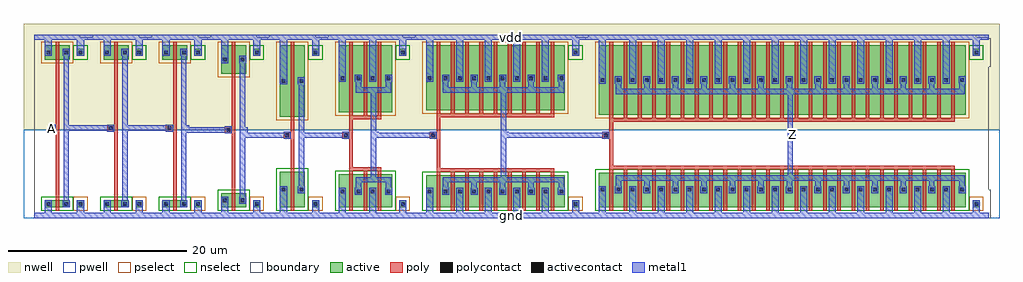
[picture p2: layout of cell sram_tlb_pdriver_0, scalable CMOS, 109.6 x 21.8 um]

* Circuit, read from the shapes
.subckt sram_tlb_pdriver_0 A Z gnd vdd
M1 sram_tlb_pinv_6_1/A A gnd gnd nfet w=0.8u l=0.4u
M2 sram_tlb_pinv_6_2/A sram_tlb_pinv_6_1/A gnd gnd nfet w=0.8u l=0.4u
M3 sram_tlb_pinv_7_3/A sram_tlb_pinv_6_2/A gnd gnd nfet w=0.8u l=0.4u
M4 sram_tlb_pinv_8_4/A sram_tlb_pinv_7_3/A gnd gnd nfet w=1.6u l=0.4u
M5 sram_tlb_pinv_9_5/A sram_tlb_pinv_8_4/A gnd gnd nfet w=4u l=0.4u
M6 sram_tlb_pinv_10_6/A sram_tlb_pinv_9_5/A gnd gnd nfet w=3.7u l=0.4u m=3
M7 sram_tlb_pinv_11_7/A sram_tlb_pinv_10_6/A gnd gnd nfet w=3.6u l=0.4u m=9
M8 Z sram_tlb_pinv_11_7/A gnd gnd nfet w=3.9u l=0.4u m=25
M9 sram_tlb_pinv_6_1/A A vdd vdd pfet w=1.6u l=0.4u
M10 sram_tlb_pinv_6_2/A sram_tlb_pinv_6_1/A vdd vdd pfet w=1.6u l=0.4u
M11 sram_tlb_pinv_7_3/A sram_tlb_pinv_6_2/A vdd vdd pfet w=1.6u l=0.4u
M12 sram_tlb_pinv_8_4/A sram_tlb_pinv_7_3/A vdd vdd pfet w=3.2u l=0.4u
M13 sram_tlb_pinv_9_5/A sram_tlb_pinv_8_4/A vdd vdd pfet w=8u l=0.4u
M14 sram_tlb_pinv_10_6/A sram_tlb_pinv_9_5/A vdd vdd pfet w=7.5u l=0.4u m=3
M15 sram_tlb_pinv_11_7/A sram_tlb_pinv_10_6/A vdd vdd pfet w=7.3u l=0.4u m=9
M16 Z sram_tlb_pinv_11_7/A vdd vdd pfet w=7.8u l=0.4u m=25
.ends

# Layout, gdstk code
import gdstk
lib = gdstk.Library(unit=1e-6, precision=1e-09)
def R(c, l, rs):  # rectangles x0, y0, x1, y1
    for r in rs: c.add(gdstk.rectangle(r[:2], r[2:], *l))
def A(c, l, x, y, w, h, nx, ny, dx, dy):  # array of equal rectangles
    R(c, l, [(x+i*dx, y+j*dy, x+i*dx+w, y+j*dy+h) for i in range(nx) for j in range(ny)])
pwell = (41, 0)
nwell = (42, 0)
active = (43, 0)
pselect = (44, 0)
nselect = (45, 0)
poly = (46, 0)
polycontact = (47, 0)
activecontact = (48, 0)
metal1 = (49, 0)
boundary = (63, 0)

sram_tlb_contact_11 = lib.new_cell('sram_tlb_contact_11')
R(sram_tlb_contact_11, nwell, [(-1.2,-1.2,2,2)])
R(sram_tlb_contact_11, active, [(0,0,0.8,0.8)])
R(sram_tlb_contact_11, pselect, [(-0.4,-0.4,1.2,1.2)])
R(sram_tlb_contact_11, activecontact, [(0.2,0.2,0.6,0.6)])
R(sram_tlb_contact_11, metal1, [(0,0,0.8,0.8)])
R(sram_tlb_contact_11, boundary, [(-1.2,-1.2,2,2)])

sram_tlb_pmos_m1_w1_600_ = lib.new_cell('sram_tlb_pmos_m1_w1_600_sm1_dm1_da_p')
R(sram_tlb_pmos_m1_w1_600_, nwell, [(-1.2,-1.2,4,2.8)])
R(sram_tlb_pmos_m1_w1_600_, active, [(0,0,2.8,1.6)])
R(sram_tlb_pmos_m1_w1_600_, pselect, [(-0.4,-0.4,3.2,2)])
R(sram_tlb_pmos_m1_w1_600_, poly, [(1.2,-0.4,1.6,2), (1.2,-0.4,1.6,2)])
R(sram_tlb_pmos_m1_w1_600_, metal1, [(0,0.4,0.8,1.2), (2,0.4,2.8,1.2)])
R(sram_tlb_pmos_m1_w1_600_, boundary, [(-1.2,-1.2,4,2.8)])
sram_tlb_pmos_m1_w1_600_.add(gdstk.Reference(sram_tlb_contact_11, (0,0.4)))
sram_tlb_pmos_m1_w1_600_.add(gdstk.Reference(sram_tlb_contact_11, (2,0.4)))
sram_tlb_pmos_m1_w1_600_.add(gdstk.Label('G', (1.4,0.8), layer=46, texttype=0))
sram_tlb_pmos_m1_w1_600_.add(gdstk.Label('S', (0.4,0.8), layer=49, texttype=0))
sram_tlb_pmos_m1_w1_600_.add(gdstk.Label('D', (2.4,0.8), layer=49, texttype=0))

sram_tlb_contact_10 = lib.new_cell('sram_tlb_contact_10')
R(sram_tlb_contact_10, pwell, [(-1.2,-1.2,2,2)])
R(sram_tlb_contact_10, active, [(0,0,0.8,0.8)])
R(sram_tlb_contact_10, nselect, [(-0.4,-0.4,1.2,1.2)])
R(sram_tlb_contact_10, activecontact, [(0.2,0.2,0.6,0.6)])
R(sram_tlb_contact_10, metal1, [(0,0,0.8,0.8)])
R(sram_tlb_contact_10, boundary, [(-1.2,-1.2,2,2)])

sram_tlb_nmos_m1_w0_800_ = lib.new_cell('sram_tlb_nmos_m1_w0_800_sm1_dm1_da_p')
R(sram_tlb_nmos_m1_w0_800_, pwell, [(-1.2,-1.2,4,2)])
R(sram_tlb_nmos_m1_w0_800_, active, [(0,0,2.8,0.8)])
R(sram_tlb_nmos_m1_w0_800_, nselect, [(-0.4,-0.4,3.2,1.2)])
R(sram_tlb_nmos_m1_w0_800_, poly, [(1.2,-0.4,1.6,1.2), (1.2,-0.4,1.6,1.2)])
R(sram_tlb_nmos_m1_w0_800_, metal1, [(0,0,0.8,0.8), (2,0,2.8,0.8)])
R(sram_tlb_nmos_m1_w0_800_, boundary, [(-1.2,-1.2,4,2)])
sram_tlb_nmos_m1_w0_800_.add(gdstk.Reference(sram_tlb_contact_10, (0,0)))
sram_tlb_nmos_m1_w0_800_.add(gdstk.Reference(sram_tlb_contact_10, (2,0)))
sram_tlb_nmos_m1_w0_800_.add(gdstk.Label('G', (1.4,0.4), layer=46, texttype=0))
sram_tlb_nmos_m1_w0_800_.add(gdstk.Label('S', (0.4,0.4), layer=49, texttype=0))
sram_tlb_nmos_m1_w0_800_.add(gdstk.Label('D', (2.4,0.4), layer=49, texttype=0))

sram_tlb_contact_12 = lib.new_cell('sram_tlb_contact_12')
R(sram_tlb_contact_12, nwell, [(-1.2,-1.2,2,2)])
R(sram_tlb_contact_12, active, [(0,0,0.8,0.8)])
R(sram_tlb_contact_12, nselect, [(-0.4,-0.4,1.2,1.2)])
R(sram_tlb_contact_12, activecontact, [(0.2,0.2,0.6,0.6)])
R(sram_tlb_contact_12, metal1, [(0,0,0.8,0.8)])
R(sram_tlb_contact_12, boundary, [(-1.2,-1.2,2,2)])

sram_tlb_contact_13 = lib.new_cell('sram_tlb_contact_13')
R(sram_tlb_contact_13, pwell, [(-1.2,-1.2,2,2)])
R(sram_tlb_contact_13, active, [(0,0,0.8,0.8)])
R(sram_tlb_contact_13, pselect, [(-0.4,-0.4,1.2,1.2)])
R(sram_tlb_contact_13, activecontact, [(0.2,0.2,0.6,0.6)])
R(sram_tlb_contact_13, metal1, [(0,0,0.8,0.8)])
R(sram_tlb_contact_13, boundary, [(-1.2,-1.2,2,2)])

sram_tlb_contact_14 = lib.new_cell('sram_tlb_contact_14')
R(sram_tlb_contact_14, poly, [(0,0,0.8,0.8)])
R(sram_tlb_contact_14, polycontact, [(0.2,0.2,0.6,0.6)])
R(sram_tlb_contact_14, metal1, [(0,0,0.8,0.8)])
R(sram_tlb_contact_14, boundary, [(0,0,0.8,0.8)])

sram_tlb_pinv_6 = lib.new_cell('sram_tlb_pinv_6')
R(sram_tlb_pinv_6, pwell, [(-1.2,-0.3,7.8,9.6)])
R(sram_tlb_pinv_6, nwell, [(-1.2,9.6,7.8,21.5)])
R(sram_tlb_pinv_6, poly, [(2.4,2.1,2.8,17.1), (2,9.4,2.4,10.2)])
R(sram_tlb_pinv_6, metal1, [(0,-0.3,6.6,0.3), (1.2,-0.3,2,0.9), (4.8,0,5.6,1.3), (3.3,0.9,3.9,18.7), (1.6,9.4,2.4,10.2), (3.6,9.5,4.2,10.1), (1.2,17.9,2,20.3), (4.8,18.3,5.6,20), (0,19.7,6.6,20.3)])
R(sram_tlb_pinv_6, boundary, [(0,0,6.6,20), (0,0,6.6,20)])
sram_tlb_pinv_6.add(gdstk.Reference(sram_tlb_pmos_m1_w1_600_, (1.2,17.5)))
sram_tlb_pinv_6.add(gdstk.Reference(sram_tlb_nmos_m1_w0_800_, (1.2,0.9)))
sram_tlb_pinv_6.add(gdstk.Reference(sram_tlb_contact_12, (4.8,17.9)))
sram_tlb_pinv_6.add(gdstk.Reference(sram_tlb_contact_13, (4.8,0.9)))
sram_tlb_pinv_6.add(gdstk.Reference(sram_tlb_contact_14, (1.6,9.4)))
sram_tlb_pinv_6.add(gdstk.Label('A', (2,9.8), layer=49, texttype=0))
sram_tlb_pinv_6.add(gdstk.Label('Z', (3.9,9.8), layer=49, texttype=0))
sram_tlb_pinv_6.add(gdstk.Label('gnd', (3.3,0), layer=49, texttype=0))
sram_tlb_pinv_6.add(gdstk.Label('vdd', (3.3,20), layer=49, texttype=0))

sram_tlb_pmos_m1_w3_200_ = lib.new_cell('sram_tlb_pmos_m1_w3_200_sm1_dm1_da_p')
R(sram_tlb_pmos_m1_w3_200_, nwell, [(-1.2,-1.2,4,4.4)])
R(sram_tlb_pmos_m1_w3_200_, active, [(0,0,2.8,3.2)])
R(sram_tlb_pmos_m1_w3_200_, pselect, [(-0.4,-0.4,3.2,3.6)])
R(sram_tlb_pmos_m1_w3_200_, poly, [(1.2,-0.4,1.6,3.6), (1.2,-0.4,1.6,3.6)])
R(sram_tlb_pmos_m1_w3_200_, metal1, [(0,1.2,0.8,2), (2,1.2,2.8,2)])
R(sram_tlb_pmos_m1_w3_200_, boundary, [(-1.2,-1.2,4,4.4)])
sram_tlb_pmos_m1_w3_200_.add(gdstk.Reference(sram_tlb_contact_11, (0,1.2)))
sram_tlb_pmos_m1_w3_200_.add(gdstk.Reference(sram_tlb_contact_11, (2,1.2)))
sram_tlb_pmos_m1_w3_200_.add(gdstk.Label('G', (1.4,1.6), layer=46, texttype=0))
sram_tlb_pmos_m1_w3_200_.add(gdstk.Label('S', (0.4,1.6), layer=49, texttype=0))
sram_tlb_pmos_m1_w3_200_.add(gdstk.Label('D', (2.4,1.6), layer=49, texttype=0))

sram_tlb_nmos_m1_w1_600_ = lib.new_cell('sram_tlb_nmos_m1_w1_600_sm1_dm1_da_p')
R(sram_tlb_nmos_m1_w1_600_, pwell, [(-1.2,-1.2,4,2.8)])
R(sram_tlb_nmos_m1_w1_600_, active, [(0,0,2.8,1.6)])
R(sram_tlb_nmos_m1_w1_600_, nselect, [(-0.4,-0.4,3.2,2)])
R(sram_tlb_nmos_m1_w1_600_, poly, [(1.2,-0.4,1.6,2), (1.2,-0.4,1.6,2)])
R(sram_tlb_nmos_m1_w1_600_, metal1, [(0,0.4,0.8,1.2), (2,0.4,2.8,1.2)])
R(sram_tlb_nmos_m1_w1_600_, boundary, [(-1.2,-1.2,4,2.8)])
sram_tlb_nmos_m1_w1_600_.add(gdstk.Reference(sram_tlb_contact_10, (0,0.4)))
sram_tlb_nmos_m1_w1_600_.add(gdstk.Reference(sram_tlb_contact_10, (2,0.4)))
sram_tlb_nmos_m1_w1_600_.add(gdstk.Label('G', (1.4,0.8), layer=46, texttype=0))
sram_tlb_nmos_m1_w1_600_.add(gdstk.Label('S', (0.4,0.8), layer=49, texttype=0))
sram_tlb_nmos_m1_w1_600_.add(gdstk.Label('D', (2.4,0.8), layer=49, texttype=0))

sram_tlb_pinv_7 = lib.new_cell('sram_tlb_pinv_7')
R(sram_tlb_pinv_7, pwell, [(-1.2,-0.3,7.8,9.6)])
R(sram_tlb_pinv_7, nwell, [(-1.2,9.6,7.8,21.5)])
R(sram_tlb_pinv_7, poly, [(2.4,2.9,2.8,15.5), (2,9.2,2.4,10)])
R(sram_tlb_pinv_7, metal1, [(0,-0.3,6.6,0.3), (1.2,-0.3,2,1.3), (4.8,0,5.6,1.3), (3.3,1.3,3.9,17.9), (1.6,9.2,2.4,10), (3.6,9.3,4.2,9.9), (1.2,17.1,2,20.3), (4.8,18.3,5.6,20), (0,19.7,6.6,20.3)])
R(sram_tlb_pinv_7, boundary, [(0,0,6.6,20), (0,0,6.6,20)])
sram_tlb_pinv_7.add(gdstk.Reference(sram_tlb_pmos_m1_w3_200_, (1.2,15.9)))
sram_tlb_pinv_7.add(gdstk.Reference(sram_tlb_nmos_m1_w1_600_, (1.2,0.9)))
sram_tlb_pinv_7.add(gdstk.Reference(sram_tlb_contact_12, (4.8,17.9)))
sram_tlb_pinv_7.add(gdstk.Reference(sram_tlb_contact_13, (4.8,0.9)))
sram_tlb_pinv_7.add(gdstk.Reference(sram_tlb_contact_14, (1.6,9.2)))
sram_tlb_pinv_7.add(gdstk.Label('A', (2,9.6), layer=49, texttype=0))
sram_tlb_pinv_7.add(gdstk.Label('Z', (3.9,9.6), layer=49, texttype=0))
sram_tlb_pinv_7.add(gdstk.Label('gnd', (3.3,0), layer=49, texttype=0))
sram_tlb_pinv_7.add(gdstk.Label('vdd', (3.3,20), layer=49, texttype=0))

sram_tlb_pmos_m1_w8_000_ = lib.new_cell('sram_tlb_pmos_m1_w8_000_sm1_dm1_da_p')
R(sram_tlb_pmos_m1_w8_000_, nwell, [(-1.2,-1.2,4,9.2)])
R(sram_tlb_pmos_m1_w8_000_, active, [(0,0,2.8,8)])
R(sram_tlb_pmos_m1_w8_000_, pselect, [(-0.4,-0.4,3.2,8.4)])
R(sram_tlb_pmos_m1_w8_000_, poly, [(1.2,-0.4,1.6,8.4), (1.2,-0.4,1.6,8.4)])
R(sram_tlb_pmos_m1_w8_000_, metal1, [(0,3.6,0.8,4.4), (2,3.6,2.8,4.4)])
R(sram_tlb_pmos_m1_w8_000_, boundary, [(-1.2,-1.2,4,9.2)])
sram_tlb_pmos_m1_w8_000_.add(gdstk.Reference(sram_tlb_contact_11, (0,3.6)))
sram_tlb_pmos_m1_w8_000_.add(gdstk.Reference(sram_tlb_contact_11, (2,3.6)))
sram_tlb_pmos_m1_w8_000_.add(gdstk.Label('G', (1.4,4), layer=46, texttype=0))
sram_tlb_pmos_m1_w8_000_.add(gdstk.Label('S', (0.4,4), layer=49, texttype=0))
sram_tlb_pmos_m1_w8_000_.add(gdstk.Label('D', (2.4,4), layer=49, texttype=0))

sram_tlb_nmos_m1_w4_000_ = lib.new_cell('sram_tlb_nmos_m1_w4_000_sm1_dm1_da_p')
R(sram_tlb_nmos_m1_w4_000_, pwell, [(-1.2,-1.2,4,5.2)])
R(sram_tlb_nmos_m1_w4_000_, active, [(0,0,2.8,4)])
R(sram_tlb_nmos_m1_w4_000_, nselect, [(-0.4,-0.4,3.2,4.4)])
R(sram_tlb_nmos_m1_w4_000_, poly, [(1.2,-0.4,1.6,4.4), (1.2,-0.4,1.6,4.4)])
R(sram_tlb_nmos_m1_w4_000_, metal1, [(0,1.6,0.8,2.4), (2,1.6,2.8,2.4)])
R(sram_tlb_nmos_m1_w4_000_, boundary, [(-1.2,-1.2,4,5.2)])
sram_tlb_nmos_m1_w4_000_.add(gdstk.Reference(sram_tlb_contact_10, (0,1.6)))
sram_tlb_nmos_m1_w4_000_.add(gdstk.Reference(sram_tlb_contact_10, (2,1.6)))
sram_tlb_nmos_m1_w4_000_.add(gdstk.Label('G', (1.4,2), layer=46, texttype=0))
sram_tlb_nmos_m1_w4_000_.add(gdstk.Label('S', (0.4,2), layer=49, texttype=0))
sram_tlb_nmos_m1_w4_000_.add(gdstk.Label('D', (2.4,2), layer=49, texttype=0))

sram_tlb_pinv_8 = lib.new_cell('sram_tlb_pinv_8')
R(sram_tlb_pinv_8, pwell, [(-1.2,-0.3,7.8,9.6)])
R(sram_tlb_pinv_8, nwell, [(-1.2,9.6,7.8,21.5)])
R(sram_tlb_pinv_8, poly, [(2.4,5.3,2.8,10.7), (2,8.6,2.4,9.4)])
R(sram_tlb_pinv_8, metal1, [(0,-0.3,6.6,0.3), (1.2,-0.3,2,2.5), (4.8,0,5.6,1.3), (3.3,2.5,3.9,15.5), (1.6,8.6,2.4,9.4), (3.6,8.7,4.2,9.3), (1.2,14.7,2,20.3), (4.8,18.3,5.6,20), (0,19.7,6.6,20.3)])
R(sram_tlb_pinv_8, boundary, [(0,0,6.6,20), (0,0,6.6,20)])
sram_tlb_pinv_8.add(gdstk.Reference(sram_tlb_pmos_m1_w8_000_, (1.2,11.1)))
sram_tlb_pinv_8.add(gdstk.Reference(sram_tlb_nmos_m1_w4_000_, (1.2,0.9)))
sram_tlb_pinv_8.add(gdstk.Reference(sram_tlb_contact_12, (4.8,17.9)))
sram_tlb_pinv_8.add(gdstk.Reference(sram_tlb_contact_13, (4.8,0.9)))
sram_tlb_pinv_8.add(gdstk.Reference(sram_tlb_contact_14, (1.6,8.6)))
sram_tlb_pinv_8.add(gdstk.Label('A', (2,9), layer=49, texttype=0))
sram_tlb_pinv_8.add(gdstk.Label('Z', (3.9,9), layer=49, texttype=0))
sram_tlb_pinv_8.add(gdstk.Label('gnd', (3.3,0), layer=49, texttype=0))
sram_tlb_pinv_8.add(gdstk.Label('vdd', (3.3,20), layer=49, texttype=0))

sram_tlb_pmos_m3_w7_500_ = lib.new_cell('sram_tlb_pmos_m3_w7_500_sm1_dm1_da_p')
R(sram_tlb_pmos_m3_w7_500_, nwell, [(-1.2,-1.2,7.2,8.7)])
R(sram_tlb_pmos_m3_w7_500_, active, [(0,0,6,7.5)])
R(sram_tlb_pmos_m3_w7_500_, pselect, [(-0.4,-0.4,6.4,7.9)])
A(sram_tlb_pmos_m3_w7_500_, poly, 1.2, -0.4, 0.4, 8.3, 3, 1, 1.6, 0)
R(sram_tlb_pmos_m3_w7_500_, poly, [(1.2,-0.8,4.8,-0.4)])
R(sram_tlb_pmos_m3_w7_500_, metal1, [(1.9,2.2,5.9,2.8), (1.9,2.4,2.5,3.8), (5.3,2.4,5.9,3.8), (0,3.4,0.8,4.2), (3.4,3.4,4.2,4.2)])
R(sram_tlb_pmos_m3_w7_500_, boundary, [(-1.2,-1.2,7.2,8.7)])
sram_tlb_pmos_m3_w7_500_.add(gdstk.Reference(sram_tlb_contact_11, (0,3.4)))
sram_tlb_pmos_m3_w7_500_.add(gdstk.Reference(sram_tlb_contact_11, (1.8,3.4)))
sram_tlb_pmos_m3_w7_500_.add(gdstk.Reference(sram_tlb_contact_11, (3.4,3.4)))
sram_tlb_pmos_m3_w7_500_.add(gdstk.Reference(sram_tlb_contact_11, (5.2,3.4)))
sram_tlb_pmos_m3_w7_500_.add(gdstk.Label('G', (3,-0.6), layer=46, texttype=0))
sram_tlb_pmos_m3_w7_500_.add(gdstk.Label('S', (3.8,3.8), layer=49, texttype=0))
sram_tlb_pmos_m3_w7_500_.add(gdstk.Label('S', (0.4,3.8), layer=49, texttype=0))
sram_tlb_pmos_m3_w7_500_.add(gdstk.Label('D', (3.9,2.5), layer=49, texttype=0))

sram_tlb_nmos_m3_w3_700_ = lib.new_cell('sram_tlb_nmos_m3_w3_700_sm1_dm1_da_p')
R(sram_tlb_nmos_m3_w3_700_, pwell, [(-1.2,-1.2,7.2,4.9)])
R(sram_tlb_nmos_m3_w3_700_, active, [(0,0,6,3.7)])
R(sram_tlb_nmos_m3_w3_700_, nselect, [(-0.4,-0.4,6.4,4.1)])
A(sram_tlb_nmos_m3_w3_700_, poly, 1.2, -0.4, 0.4, 4.5, 3, 1, 1.6, 0)
R(sram_tlb_nmos_m3_w3_700_, poly, [(1.2,4.1,4.8,4.5)])
R(sram_tlb_nmos_m3_w3_700_, metal1, [(0,1.4,0.8,2.2), (3.4,1.4,4.2,2.2), (1.9,1.8,2.5,3.2), (5.3,1.8,5.9,3.2), (1.9,2.8,5.9,3.4)])
R(sram_tlb_nmos_m3_w3_700_, boundary, [(-1.2,-1.2,7.2,4.9)])
sram_tlb_nmos_m3_w3_700_.add(gdstk.Reference(sram_tlb_contact_10, (0,1.4)))
sram_tlb_nmos_m3_w3_700_.add(gdstk.Reference(sram_tlb_contact_10, (1.8,1.4)))
sram_tlb_nmos_m3_w3_700_.add(gdstk.Reference(sram_tlb_contact_10, (3.4,1.4)))
sram_tlb_nmos_m3_w3_700_.add(gdstk.Reference(sram_tlb_contact_10, (5.2,1.4)))
sram_tlb_nmos_m3_w3_700_.add(gdstk.Label('G', (3,4.3), layer=46, texttype=0))
sram_tlb_nmos_m3_w3_700_.add(gdstk.Label('S', (0.4,1.8), layer=49, texttype=0))
sram_tlb_nmos_m3_w3_700_.add(gdstk.Label('S', (3.8,1.8), layer=49, texttype=0))
sram_tlb_nmos_m3_w3_700_.add(gdstk.Label('D', (3.9,3.1), layer=49, texttype=0))

sram_tlb_pinv_9 = lib.new_cell('sram_tlb_pinv_9')
R(sram_tlb_pinv_9, pwell, [(-1.2,-0.3,11,9.6)])
R(sram_tlb_pinv_9, nwell, [(-1.2,9.6,11,21.5)])
R(sram_tlb_pinv_9, poly, [(2.4,5.4,2.8,10.8), (2,8.6,2.4,9.4)])
R(sram_tlb_pinv_9, metal1, [(0,-0.3,9.8,0.3), (1.2,-0.3,2,2.3), (4.6,-0.3,5.4,2.3), (8,0,8.8,1.3), (4.8,3.7,5.4,14.4), (1.6,8.6,2.4,9.4), (5.1,8.8,5.7,9.4), (1.2,15,2,20.3), (4.6,15,5.4,20.3), (8,18.3,8.8,20), (0,19.7,9.8,20.3)])
R(sram_tlb_pinv_9, boundary, [(0,0,9.8,20), (0,0,9.8,20)])
sram_tlb_pinv_9.add(gdstk.Reference(sram_tlb_pmos_m3_w7_500_, (1.2,11.6)))
sram_tlb_pinv_9.add(gdstk.Reference(sram_tlb_nmos_m3_w3_700_, (1.2,0.9)))
sram_tlb_pinv_9.add(gdstk.Reference(sram_tlb_contact_12, (8,17.9)))
sram_tlb_pinv_9.add(gdstk.Reference(sram_tlb_contact_13, (8,0.9)))
sram_tlb_pinv_9.add(gdstk.Reference(sram_tlb_contact_14, (1.6,8.6)))
sram_tlb_pinv_9.add(gdstk.Label('A', (2,9), layer=49, texttype=0))
sram_tlb_pinv_9.add(gdstk.Label('Z', (5.4,9.1), layer=49, texttype=0))
sram_tlb_pinv_9.add(gdstk.Label('gnd', (4.9,0), layer=49, texttype=0))
sram_tlb_pinv_9.add(gdstk.Label('vdd', (4.9,20), layer=49, texttype=0))

sram_tlb_pmos_m9_w7_300_ = lib.new_cell('sram_tlb_pmos_m9_w7_300_sm1_dm1_da_p')
R(sram_tlb_pmos_m9_w7_300_, nwell, [(-1.2,-1.2,16.8,8.5)])
R(sram_tlb_pmos_m9_w7_300_, active, [(0,0,15.6,7.3)])
R(sram_tlb_pmos_m9_w7_300_, pselect, [(-0.4,-0.4,16,7.7)])
A(sram_tlb_pmos_m9_w7_300_, poly, 1.2, -0.4, 0.4, 8.1, 9, 1, 1.6, 0)
R(sram_tlb_pmos_m9_w7_300_, poly, [(1.2,-0.8,14.4,-0.4)])
A(sram_tlb_pmos_m9_w7_300_, metal1, 1.9, 2.4, 0.6, 1.2, 4, 1, 3.2, 0)
A(sram_tlb_pmos_m9_w7_300_, metal1, 3.4, 3.2, 0.8, 0.8, 4, 1, 3.2, 0)
R(sram_tlb_pmos_m9_w7_300_, metal1, [(1.9,2,15.5,2.6), (14.9,2.4,15.5,3.6), (0,3.2,0.8,4)])
R(sram_tlb_pmos_m9_w7_300_, boundary, [(-1.2,-1.2,16.8,8.5)])
sram_tlb_pmos_m9_w7_300_.add(gdstk.Reference(sram_tlb_contact_11, (0,3.2)))
sram_tlb_pmos_m9_w7_300_.add(gdstk.Reference(sram_tlb_contact_11, (1.8,3.2)))
sram_tlb_pmos_m9_w7_300_.add(gdstk.Reference(sram_tlb_contact_11, (3.4,3.2)))
sram_tlb_pmos_m9_w7_300_.add(gdstk.Reference(sram_tlb_contact_11, (5,3.2)))
sram_tlb_pmos_m9_w7_300_.add(gdstk.Reference(sram_tlb_contact_11, (6.6,3.2)))
sram_tlb_pmos_m9_w7_300_.add(gdstk.Reference(sram_tlb_contact_11, (8.2,3.2)))
sram_tlb_pmos_m9_w7_300_.add(gdstk.Reference(sram_tlb_contact_11, (9.8,3.2)))
sram_tlb_pmos_m9_w7_300_.add(gdstk.Reference(sram_tlb_contact_11, (11.4,3.2)))
sram_tlb_pmos_m9_w7_300_.add(gdstk.Reference(sram_tlb_contact_11, (13,3.2)))
sram_tlb_pmos_m9_w7_300_.add(gdstk.Reference(sram_tlb_contact_11, (14.8,3.2)))
sram_tlb_pmos_m9_w7_300_.add(gdstk.Label('G', (7.8,-0.6), layer=46, texttype=0))
sram_tlb_pmos_m9_w7_300_.add(gdstk.Label('S', (0.4,3.6), layer=49, texttype=0))
sram_tlb_pmos_m9_w7_300_.add(gdstk.Label('S', (3.8,3.6), layer=49, texttype=0))
sram_tlb_pmos_m9_w7_300_.add(gdstk.Label('S', (13.4,3.6), layer=49, texttype=0))
sram_tlb_pmos_m9_w7_300_.add(gdstk.Label('S', (10.2,3.6), layer=49, texttype=0))
sram_tlb_pmos_m9_w7_300_.add(gdstk.Label('S', (7,3.6), layer=49, texttype=0))
sram_tlb_pmos_m9_w7_300_.add(gdstk.Label('D', (8.7,2.3), layer=49, texttype=0))

sram_tlb_nmos_m9_w3_600_ = lib.new_cell('sram_tlb_nmos_m9_w3_600_sm1_dm1_da_p')
R(sram_tlb_nmos_m9_w3_600_, pwell, [(-1.2,-1.2,16.8,4.8)])
R(sram_tlb_nmos_m9_w3_600_, active, [(0,0,15.6,3.6)])
R(sram_tlb_nmos_m9_w3_600_, nselect, [(-0.4,-0.4,16,4)])
A(sram_tlb_nmos_m9_w3_600_, poly, 1.2, -0.4, 0.4, 4.4, 9, 1, 1.6, 0)
R(sram_tlb_nmos_m9_w3_600_, poly, [(1.2,4,14.4,4.4)])
A(sram_tlb_nmos_m9_w3_600_, metal1, 3.4, 1.4, 0.8, 0.8, 4, 1, 3.2, 0)
A(sram_tlb_nmos_m9_w3_600_, metal1, 1.9, 1.8, 0.6, 1.3, 4, 1, 3.2, 0)
R(sram_tlb_nmos_m9_w3_600_, metal1, [(0,1.4,0.8,2.2), (14.9,1.8,15.5,3.1), (1.9,2.8,15.5,3.4)])
R(sram_tlb_nmos_m9_w3_600_, boundary, [(-1.2,-1.2,16.8,4.8)])
sram_tlb_nmos_m9_w3_600_.add(gdstk.Reference(sram_tlb_contact_10, (0,1.4)))
sram_tlb_nmos_m9_w3_600_.add(gdstk.Reference(sram_tlb_contact_10, (1.8,1.4)))
sram_tlb_nmos_m9_w3_600_.add(gdstk.Reference(sram_tlb_contact_10, (3.4,1.4)))
sram_tlb_nmos_m9_w3_600_.add(gdstk.Reference(sram_tlb_contact_10, (5,1.4)))
sram_tlb_nmos_m9_w3_600_.add(gdstk.Reference(sram_tlb_contact_10, (6.6,1.4)))
sram_tlb_nmos_m9_w3_600_.add(gdstk.Reference(sram_tlb_contact_10, (8.2,1.4)))
sram_tlb_nmos_m9_w3_600_.add(gdstk.Reference(sram_tlb_contact_10, (9.8,1.4)))
sram_tlb_nmos_m9_w3_600_.add(gdstk.Reference(sram_tlb_contact_10, (11.4,1.4)))
sram_tlb_nmos_m9_w3_600_.add(gdstk.Reference(sram_tlb_contact_10, (13,1.4)))
sram_tlb_nmos_m9_w3_600_.add(gdstk.Reference(sram_tlb_contact_10, (14.8,1.4)))
sram_tlb_nmos_m9_w3_600_.add(gdstk.Label('G', (7.8,4.2), layer=46, texttype=0))
sram_tlb_nmos_m9_w3_600_.add(gdstk.Label('S', (0.4,1.8), layer=49, texttype=0))
sram_tlb_nmos_m9_w3_600_.add(gdstk.Label('S', (10.2,1.8), layer=49, texttype=0))
sram_tlb_nmos_m9_w3_600_.add(gdstk.Label('S', (7,1.8), layer=49, texttype=0))
sram_tlb_nmos_m9_w3_600_.add(gdstk.Label('S', (3.8,1.8), layer=49, texttype=0))
sram_tlb_nmos_m9_w3_600_.add(gdstk.Label('S', (13.4,1.8), layer=49, texttype=0))
sram_tlb_nmos_m9_w3_600_.add(gdstk.Label('D', (8.7,3.1), layer=49, texttype=0))

sram_tlb_pinv_10 = lib.new_cell('sram_tlb_pinv_10')
R(sram_tlb_pinv_10, pwell, [(-1.2,-0.3,20.6,9.6)])
R(sram_tlb_pinv_10, nwell, [(-1.2,9.6,20.6,21.5)])
R(sram_tlb_pinv_10, poly, [(2.4,5.3,2.8,11), (2,8.6,2.4,9.4)])
A(sram_tlb_pinv_10, metal1, 4.6, -0.3, 0.8, 2.6, 4, 1, 3.2, 0)
A(sram_tlb_pinv_10, metal1, 4.6, 15, 0.8, 5.3, 4, 1, 3.2, 0)
R(sram_tlb_pinv_10, metal1, [(0,-0.3,19.4,0.3), (1.2,-0.3,2,2.3), (17.6,0,18.4,1.3), (9.6,3.7,10.2,14.4), (1.6,8.6,2.4,9.4), (9.9,8.8,10.5,9.4), (1.2,15,2,20.3), (17.6,18.3,18.4,20), (0,19.7,19.4,20.3)])
R(sram_tlb_pinv_10, boundary, [(0,0,19.4,20), (0,0,19.4,20)])
sram_tlb_pinv_10.add(gdstk.Reference(sram_tlb_pmos_m9_w7_300_, (1.2,11.8)))
sram_tlb_pinv_10.add(gdstk.Reference(sram_tlb_nmos_m9_w3_600_, (1.2,0.9)))
sram_tlb_pinv_10.add(gdstk.Reference(sram_tlb_contact_12, (17.6,17.9)))
sram_tlb_pinv_10.add(gdstk.Reference(sram_tlb_contact_13, (17.6,0.9)))
sram_tlb_pinv_10.add(gdstk.Reference(sram_tlb_contact_14, (1.6,8.6)))
sram_tlb_pinv_10.add(gdstk.Label('A', (2,9), layer=49, texttype=0))
sram_tlb_pinv_10.add(gdstk.Label('Z', (10.2,9.1), layer=49, texttype=0))
sram_tlb_pinv_10.add(gdstk.Label('gnd', (9.7,0), layer=49, texttype=0))
sram_tlb_pinv_10.add(gdstk.Label('vdd', (9.7,20), layer=49, texttype=0))

sram_tlb_pmos_m25_w7_800 = lib.new_cell('sram_tlb_pmos_m25_w7_800_sm1_dm1_da_p')
R(sram_tlb_pmos_m25_w7_800, nwell, [(-1.2,-1.2,42.4,9)])
R(sram_tlb_pmos_m25_w7_800, active, [(0,0,41.2,7.8)])
R(sram_tlb_pmos_m25_w7_800, pselect, [(-0.4,-0.4,41.6,8.2)])
A(sram_tlb_pmos_m25_w7_800, poly, 1.2, -0.4, 0.4, 8.6, 25, 1, 1.6, 0)
R(sram_tlb_pmos_m25_w7_800, poly, [(1.2,-0.8,40,-0.4)])
A(sram_tlb_pmos_m25_w7_800, metal1, 1.9, 2.6, 0.6, 1.3, 12, 1, 3.2, 0)
A(sram_tlb_pmos_m25_w7_800, metal1, 3.4, 3.5, 0.8, 0.8, 12, 1, 3.2, 0)
R(sram_tlb_pmos_m25_w7_800, metal1, [(1.9,2.3,41.1,2.9), (40.5,2.6,41.1,3.9), (0,3.5,0.8,4.3)])
R(sram_tlb_pmos_m25_w7_800, boundary, [(-1.2,-1.2,42.4,9)])
sram_tlb_pmos_m25_w7_800.add(gdstk.Reference(sram_tlb_contact_11, (0,3.5)))
sram_tlb_pmos_m25_w7_800.add(gdstk.Reference(sram_tlb_contact_11, (1.8,3.5)))
sram_tlb_pmos_m25_w7_800.add(gdstk.Reference(sram_tlb_contact_11, (3.4,3.5)))
sram_tlb_pmos_m25_w7_800.add(gdstk.Reference(sram_tlb_contact_11, (5,3.5)))
sram_tlb_pmos_m25_w7_800.add(gdstk.Reference(sram_tlb_contact_11, (6.6,3.5)))
sram_tlb_pmos_m25_w7_800.add(gdstk.Reference(sram_tlb_contact_11, (8.2,3.5)))
sram_tlb_pmos_m25_w7_800.add(gdstk.Reference(sram_tlb_contact_11, (9.8,3.5)))
sram_tlb_pmos_m25_w7_800.add(gdstk.Reference(sram_tlb_contact_11, (11.4,3.5)))
sram_tlb_pmos_m25_w7_800.add(gdstk.Reference(sram_tlb_contact_11, (13,3.5)))
sram_tlb_pmos_m25_w7_800.add(gdstk.Reference(sram_tlb_contact_11, (14.6,3.5)))
sram_tlb_pmos_m25_w7_800.add(gdstk.Reference(sram_tlb_contact_11, (16.2,3.5)))
sram_tlb_pmos_m25_w7_800.add(gdstk.Reference(sram_tlb_contact_11, (17.8,3.5)))
sram_tlb_pmos_m25_w7_800.add(gdstk.Reference(sram_tlb_contact_11, (19.4,3.5)))
sram_tlb_pmos_m25_w7_800.add(gdstk.Reference(sram_tlb_contact_11, (21,3.5)))
sram_tlb_pmos_m25_w7_800.add(gdstk.Reference(sram_tlb_contact_11, (22.6,3.5)))
sram_tlb_pmos_m25_w7_800.add(gdstk.Reference(sram_tlb_contact_11, (24.2,3.5)))
sram_tlb_pmos_m25_w7_800.add(gdstk.Reference(sram_tlb_contact_11, (25.8,3.5)))
sram_tlb_pmos_m25_w7_800.add(gdstk.Reference(sram_tlb_contact_11, (27.4,3.5)))
sram_tlb_pmos_m25_w7_800.add(gdstk.Reference(sram_tlb_contact_11, (29,3.5)))
sram_tlb_pmos_m25_w7_800.add(gdstk.Reference(sram_tlb_contact_11, (30.6,3.5)))
sram_tlb_pmos_m25_w7_800.add(gdstk.Reference(sram_tlb_contact_11, (32.2,3.5)))
sram_tlb_pmos_m25_w7_800.add(gdstk.Reference(sram_tlb_contact_11, (33.8,3.5)))
sram_tlb_pmos_m25_w7_800.add(gdstk.Reference(sram_tlb_contact_11, (35.4,3.5)))
sram_tlb_pmos_m25_w7_800.add(gdstk.Reference(sram_tlb_contact_11, (37,3.5)))
sram_tlb_pmos_m25_w7_800.add(gdstk.Reference(sram_tlb_contact_11, (38.6,3.5)))
sram_tlb_pmos_m25_w7_800.add(gdstk.Reference(sram_tlb_contact_11, (40.4,3.5)))
sram_tlb_pmos_m25_w7_800.add(gdstk.Label('G', (20.6,-0.6), layer=46, texttype=0))
sram_tlb_pmos_m25_w7_800.add(gdstk.Label('S', (19.8,3.9), layer=49, texttype=0))
sram_tlb_pmos_m25_w7_800.add(gdstk.Label('S', (26.2,3.9), layer=49, texttype=0))
sram_tlb_pmos_m25_w7_800.add(gdstk.Label('S', (32.6,3.9), layer=49, texttype=0))
sram_tlb_pmos_m25_w7_800.add(gdstk.Label('S', (16.6,3.9), layer=49, texttype=0))
sram_tlb_pmos_m25_w7_800.add(gdstk.Label('S', (35.8,3.9), layer=49, texttype=0))
sram_tlb_pmos_m25_w7_800.add(gdstk.Label('S', (0.4,3.9), layer=49, texttype=0))
sram_tlb_pmos_m25_w7_800.add(gdstk.Label('S', (3.8,3.9), layer=49, texttype=0))
sram_tlb_pmos_m25_w7_800.add(gdstk.Label('S', (10.2,3.9), layer=49, texttype=0))
sram_tlb_pmos_m25_w7_800.add(gdstk.Label('S', (39,3.9), layer=49, texttype=0))
sram_tlb_pmos_m25_w7_800.add(gdstk.Label('S', (7,3.9), layer=49, texttype=0))
sram_tlb_pmos_m25_w7_800.add(gdstk.Label('S', (23,3.9), layer=49, texttype=0))
sram_tlb_pmos_m25_w7_800.add(gdstk.Label('S', (13.4,3.9), layer=49, texttype=0))
sram_tlb_pmos_m25_w7_800.add(gdstk.Label('S', (29.4,3.9), layer=49, texttype=0))
sram_tlb_pmos_m25_w7_800.add(gdstk.Label('D', (21.5,2.6), layer=49, texttype=0))

sram_tlb_nmos_m25_w3_900 = lib.new_cell('sram_tlb_nmos_m25_w3_900_sm1_dm1_da_p')
R(sram_tlb_nmos_m25_w3_900, pwell, [(-1.2,-1.2,42.4,5.1)])
R(sram_tlb_nmos_m25_w3_900, active, [(0,0,41.2,3.9)])
R(sram_tlb_nmos_m25_w3_900, nselect, [(-0.4,-0.4,41.6,4.3)])
A(sram_tlb_nmos_m25_w3_900, poly, 1.2, -0.4, 0.4, 4.7, 25, 1, 1.6, 0)
R(sram_tlb_nmos_m25_w3_900, poly, [(1.2,4.3,40,4.7)])
A(sram_tlb_nmos_m25_w3_900, metal1, 3.4, 1.6, 0.8, 0.8, 12, 1, 3.2, 0)
A(sram_tlb_nmos_m25_w3_900, metal1, 1.9, 2, 0.6, 1.2, 12, 1, 3.2, 0)
R(sram_tlb_nmos_m25_w3_900, metal1, [(0,1.6,0.8,2.4), (40.5,2,41.1,3.2), (1.9,3,41.1,3.6)])
R(sram_tlb_nmos_m25_w3_900, boundary, [(-1.2,-1.2,42.4,5.1)])
sram_tlb_nmos_m25_w3_900.add(gdstk.Reference(sram_tlb_contact_10, (0,1.6)))
sram_tlb_nmos_m25_w3_900.add(gdstk.Reference(sram_tlb_contact_10, (1.8,1.6)))
sram_tlb_nmos_m25_w3_900.add(gdstk.Reference(sram_tlb_contact_10, (3.4,1.6)))
sram_tlb_nmos_m25_w3_900.add(gdstk.Reference(sram_tlb_contact_10, (5,1.6)))
sram_tlb_nmos_m25_w3_900.add(gdstk.Reference(sram_tlb_contact_10, (6.6,1.6)))
sram_tlb_nmos_m25_w3_900.add(gdstk.Reference(sram_tlb_contact_10, (8.2,1.6)))
sram_tlb_nmos_m25_w3_900.add(gdstk.Reference(sram_tlb_contact_10, (9.8,1.6)))
sram_tlb_nmos_m25_w3_900.add(gdstk.Reference(sram_tlb_contact_10, (11.4,1.6)))
sram_tlb_nmos_m25_w3_900.add(gdstk.Reference(sram_tlb_contact_10, (13,1.6)))
sram_tlb_nmos_m25_w3_900.add(gdstk.Reference(sram_tlb_contact_10, (14.6,1.6)))
sram_tlb_nmos_m25_w3_900.add(gdstk.Reference(sram_tlb_contact_10, (16.2,1.6)))
sram_tlb_nmos_m25_w3_900.add(gdstk.Reference(sram_tlb_contact_10, (17.8,1.6)))
sram_tlb_nmos_m25_w3_900.add(gdstk.Reference(sram_tlb_contact_10, (19.4,1.6)))
sram_tlb_nmos_m25_w3_900.add(gdstk.Reference(sram_tlb_contact_10, (21,1.6)))
sram_tlb_nmos_m25_w3_900.add(gdstk.Reference(sram_tlb_contact_10, (22.6,1.6)))
sram_tlb_nmos_m25_w3_900.add(gdstk.Reference(sram_tlb_contact_10, (24.2,1.6)))
sram_tlb_nmos_m25_w3_900.add(gdstk.Reference(sram_tlb_contact_10, (25.8,1.6)))
sram_tlb_nmos_m25_w3_900.add(gdstk.Reference(sram_tlb_contact_10, (27.4,1.6)))
sram_tlb_nmos_m25_w3_900.add(gdstk.Reference(sram_tlb_contact_10, (29,1.6)))
sram_tlb_nmos_m25_w3_900.add(gdstk.Reference(sram_tlb_contact_10, (30.6,1.6)))
sram_tlb_nmos_m25_w3_900.add(gdstk.Reference(sram_tlb_contact_10, (32.2,1.6)))
sram_tlb_nmos_m25_w3_900.add(gdstk.Reference(sram_tlb_contact_10, (33.8,1.6)))
sram_tlb_nmos_m25_w3_900.add(gdstk.Reference(sram_tlb_contact_10, (35.4,1.6)))
sram_tlb_nmos_m25_w3_900.add(gdstk.Reference(sram_tlb_contact_10, (37,1.6)))
sram_tlb_nmos_m25_w3_900.add(gdstk.Reference(sram_tlb_contact_10, (38.6,1.6)))
sram_tlb_nmos_m25_w3_900.add(gdstk.Reference(sram_tlb_contact_10, (40.4,1.6)))
sram_tlb_nmos_m25_w3_900.add(gdstk.Label('G', (20.6,4.5), layer=46, texttype=0))
sram_tlb_nmos_m25_w3_900.add(gdstk.Label('S', (19.8,2), layer=49, texttype=0))
sram_tlb_nmos_m25_w3_900.add(gdstk.Label('S', (26.2,2), layer=49, texttype=0))
sram_tlb_nmos_m25_w3_900.add(gdstk.Label('S', (0.4,2), layer=49, texttype=0))
sram_tlb_nmos_m25_w3_900.add(gdstk.Label('S', (3.8,2), layer=49, texttype=0))
sram_tlb_nmos_m25_w3_900.add(gdstk.Label('S', (29.4,2), layer=49, texttype=0))
sram_tlb_nmos_m25_w3_900.add(gdstk.Label('S', (39,2), layer=49, texttype=0))
sram_tlb_nmos_m25_w3_900.add(gdstk.Label('S', (16.6,2), layer=49, texttype=0))
sram_tlb_nmos_m25_w3_900.add(gdstk.Label('S', (32.6,2), layer=49, texttype=0))
sram_tlb_nmos_m25_w3_900.add(gdstk.Label('S', (35.8,2), layer=49, texttype=0))
sram_tlb_nmos_m25_w3_900.add(gdstk.Label('S', (13.4,2), layer=49, texttype=0))
sram_tlb_nmos_m25_w3_900.add(gdstk.Label('S', (23,2), layer=49, texttype=0))
sram_tlb_nmos_m25_w3_900.add(gdstk.Label('S', (10.2,2), layer=49, texttype=0))
sram_tlb_nmos_m25_w3_900.add(gdstk.Label('S', (7,2), layer=49, texttype=0))
sram_tlb_nmos_m25_w3_900.add(gdstk.Label('D', (21.5,3.3), layer=49, texttype=0))

sram_tlb_pinv_11 = lib.new_cell('sram_tlb_pinv_11')
R(sram_tlb_pinv_11, pwell, [(-1.2,-0.3,46.2,9.6)])
R(sram_tlb_pinv_11, nwell, [(-1.2,9.6,46.2,21.5)])
R(sram_tlb_pinv_11, poly, [(2.4,5.6,2.8,10.5), (2,8.6,2.4,9.4)])
A(sram_tlb_pinv_11, metal1, 4.6, -0.3, 0.8, 2.8, 12, 1, 3.2, 0)
A(sram_tlb_pinv_11, metal1, 4.6, 14.8, 0.8, 5.5, 12, 1, 3.2, 0)
R(sram_tlb_pinv_11, metal1, [(0,-0.3,45,0.3), (1.2,-0.3,2,2.5), (43.2,0,44,1.3), (22.4,3.9,23,14.2), (1.6,8.6,2.4,9.4), (22.7,8.8,23.3,9.4), (1.2,14.8,2,20.3), (43.2,18.3,44,20), (0,19.7,45,20.3)])
R(sram_tlb_pinv_11, boundary, [(0,0,45,20), (0,0,45,20)])
sram_tlb_pinv_11.add(gdstk.Reference(sram_tlb_pmos_m25_w7_800, (1.2,11.3)))
sram_tlb_pinv_11.add(gdstk.Reference(sram_tlb_nmos_m25_w3_900, (1.2,0.9)))
sram_tlb_pinv_11.add(gdstk.Reference(sram_tlb_contact_12, (43.2,17.9)))
sram_tlb_pinv_11.add(gdstk.Reference(sram_tlb_contact_13, (43.2,0.9)))
sram_tlb_pinv_11.add(gdstk.Reference(sram_tlb_contact_14, (1.6,8.6)))
sram_tlb_pinv_11.add(gdstk.Label('A', (2,9), layer=49, texttype=0))
sram_tlb_pinv_11.add(gdstk.Label('Z', (23,9.1), layer=49, texttype=0))
sram_tlb_pinv_11.add(gdstk.Label('gnd', (22.5,0), layer=49, texttype=0))
sram_tlb_pinv_11.add(gdstk.Label('vdd', (22.5,20), layer=49, texttype=0))

sram_tlb_pdriver_0 = lib.new_cell('sram_tlb_pdriver_0')
R(sram_tlb_pdriver_0, pwell, [(-1.2,-0.3,108.4,9.6)])
R(sram_tlb_pdriver_0, nwell, [(-1.2,9.6,108.4,21.5)])
R(sram_tlb_pdriver_0, metal1, [(0,-0.3,107.2,0.3), (23.4,8.7,24,9.3), (23.7,8.7,28.4,9.3), (30.3,8.7,35,9.3), (38.1,8.7,38.7,9.3), (38.4,8.7,44.8,9.3), (52.7,8.7,53.3,9.3), (53,8.7,64.2,9.3), (84.9,8.8,85.5,9.4), (23.4,9,24,9.6), (38.1,9,38.7,9.1), (52.7,9,53.3,9.1), (16.8,9.3,17.4,9.9), (17.1,9.3,21.8,9.9), (1.6,9.4,2.4,10.2), (3.9,9.5,8.6,10.1), (10.5,9.5,15.2,10.1), (16.8,9.6,17.4,9.8), (0,19.7,107.2,20.3)])
R(sram_tlb_pdriver_0, boundary, [(0,0,107.2,20), (0,0,107.2,20)])
sram_tlb_pdriver_0.add(gdstk.Reference(sram_tlb_pinv_6, (0,0)))
sram_tlb_pdriver_0.add(gdstk.Reference(sram_tlb_pinv_6, (6.6,0)))
sram_tlb_pdriver_0.add(gdstk.Reference(sram_tlb_pinv_6, (13.2,0)))
sram_tlb_pdriver_0.add(gdstk.Reference(sram_tlb_pinv_7, (19.8,0)))
sram_tlb_pdriver_0.add(gdstk.Reference(sram_tlb_pinv_8, (26.4,0)))
sram_tlb_pdriver_0.add(gdstk.Reference(sram_tlb_pinv_9, (33,0)))
sram_tlb_pdriver_0.add(gdstk.Reference(sram_tlb_pinv_10, (42.8,0)))
sram_tlb_pdriver_0.add(gdstk.Reference(sram_tlb_pinv_11, (62.2,0)))
sram_tlb_pdriver_0.add(gdstk.Label('Z', (85.2,9.1), layer=49, texttype=0))
sram_tlb_pdriver_0.add(gdstk.Label('A', (2,9.8), layer=49, texttype=0))
sram_tlb_pdriver_0.add(gdstk.Label('gnd', (53.6,0), layer=49, texttype=0))
sram_tlb_pdriver_0.add(gdstk.Label('vdd', (53.6,20), layer=49, texttype=0))

lib.write_gds('sram_tlb_pdriver_0.gds')
